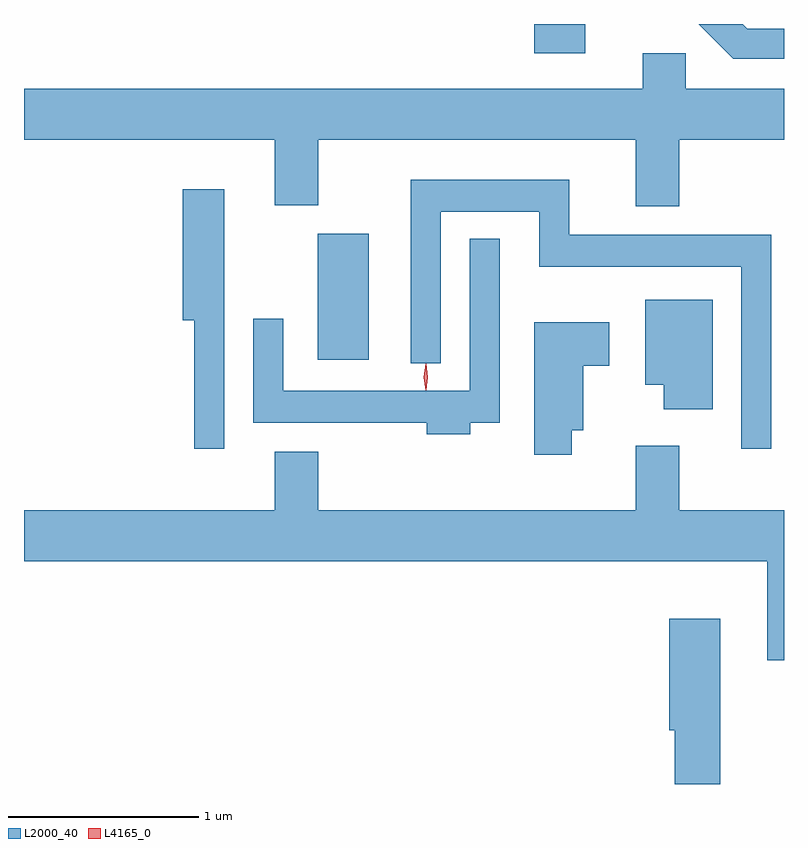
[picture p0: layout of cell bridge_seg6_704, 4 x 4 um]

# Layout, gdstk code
import gdstk
lib = gdstk.Library(unit=1e-6, precision=1e-09)
def R(c, l, rs):  # rectangles x0, y0, x1, y1
    for r in rs: c.add(gdstk.rectangle(r[:2], r[2:], *l))
def P(c, l, *ps):  # polygons
    for p in ps: c.add(gdstk.Polygon(p, *l))
L2000_40 = (2000, 40)
L4165_0 = (4165, 0)

bridge_seg6_704 = lib.new_cell('bridge_seg6_704')
R(bridge_seg6_704, L2000_40, [(409.516,1566.636,409.784,1567.299), (410.656,1568.251,410.924,1568.404)])
P(bridge_seg6_704, L2000_40, [(411.97,1568.379),(411.777,1568.379),(411.752,1568.404),(411.521,1568.404),(411.704,1568.221),(411.97,1568.221)],
  [(411.419,1567.796),(411.97,1567.796),(411.97,1568.064),(411.454,1568.064),(411.454,1568.249),(411.226,1568.249),(411.226,1568.064),(407.97,1568.064),(407.97,1567.796),(409.291,1567.796),(409.291,1567.451),(409.519,1567.451),(409.519,1567.796),(411.191,1567.796),(411.191,1567.446),(411.419,1567.446)],
  [(411.904,1567.294),(410.839,1567.294),(410.839,1567.584),(410.006,1567.584),(410.006,1566.618),(410.164,1566.618),(410.164,1567.416),(410.681,1567.416),(410.681,1567.126),(411.746,1567.126),(411.746,1566.168),(411.904,1566.168)],
  [(409.024,1567.534),(408.806,1567.534),(408.806,1566.846),(408.866,1566.846),(408.866,1566.168),(409.024,1566.168)],
  [(410.319,1566.306),(410.474,1566.306),(410.474,1567.273),(410.316,1567.273),(410.316,1566.474),(409.334,1566.474),(409.334,1566.853),(409.176,1566.853),(409.176,1566.306),(410.091,1566.306),(410.091,1566.246),(410.319,1566.246)],
  [(411.594,1566.954),(411.241,1566.954),(411.241,1566.506),(411.336,1566.506),(411.336,1566.376),(411.594,1566.376)],
  [(410.854,1566.266),(410.914,1566.266),(410.914,1566.606),(411.049,1566.606),(411.049,1566.834),(410.656,1566.834),(410.656,1566.136),(410.854,1566.136)],
  [(411.97,1565.844),(411.419,1565.844),(411.419,1566.184),(411.191,1566.184),(411.191,1565.844),(409.519,1565.844),(409.519,1566.154),(409.291,1566.154),(409.291,1565.844),(407.97,1565.844),(407.97,1565.576),(411.881,1565.576),(411.881,1565.056),(411.97,1565.056)],
  [(411.634,1565.274),(411.366,1565.274),(411.366,1564.686),(411.396,1564.686),(411.396,1564.404),(411.634,1564.404)])
P(bridge_seg6_704, L4165_0, [(410.084,1566.477),(410.075,1566.546),(410.084,1566.616),(410.085,1566.616),(410.086,1566.616),(410.095,1566.546),(410.086,1566.477),(410.085,1566.477)],
  [(410.085,1566.479),(410.084,1566.48),(410.075,1566.546),(410.084,1566.612),(410.085,1566.613),(410.085,1566.612),(410.095,1566.546),(410.085,1566.48)])

lib.write_gds('bridge_seg6_704.gds')
